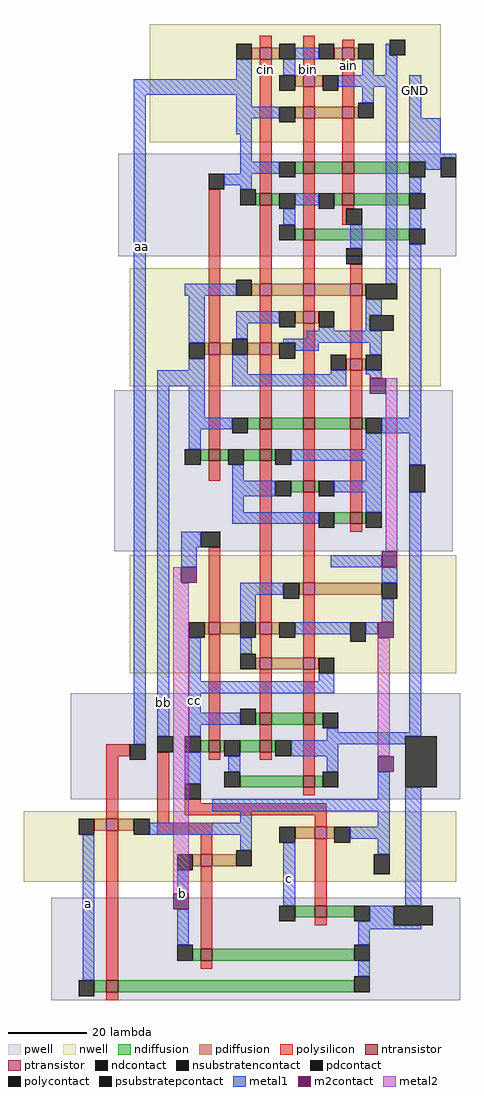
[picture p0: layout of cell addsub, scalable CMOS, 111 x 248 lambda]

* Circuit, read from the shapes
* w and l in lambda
.subckt addsub GND Vdd a aa ain b bb bin c cc cin
M1 GND aa a GND nfet w=3 l=3
M2 GND bb b GND nfet w=3 l=3
M3 n1 b cc GND nfet w=3 l=3
M4 n2 aa bb GND nfet w=3 l=3
M5 GND cin n1 GND nfet w=3 l=3
M6 n3 cin cc GND nfet w=3 l=3
M7 GND cin n2 GND nfet w=3 l=3
M8 n4 cin bb GND nfet w=3 l=3
M9 n5 cin aa GND nfet w=3 l=3
M10 GND bin n1 GND nfet w=3 l=3
M11 GND bin n3 GND nfet w=3 l=3
M12 GND bin n2 GND nfet w=3 l=3
M13 n6 bin n4 GND nfet w=3 l=3
M14 GND bin n5 GND nfet w=3 l=3
M15 n7 bin aa GND nfet w=3 l=3
M16 GND cc c GND nfet w=3 l=3
M17 GND ain n5 GND nfet w=3 l=3
M18 GND ain n7 GND nfet w=3 l=3
M19 GND ain n2 GND nfet w=3 l=3
M20 GND ain n6 GND nfet w=3 l=3
M21 Vdd aa a Vdd pfet w=3 l=3
M22 Vdd bb b Vdd pfet w=3 l=3
M23 n8 b cc Vdd pfet w=3 l=3
M24 n9 aa bb Vdd pfet w=3 l=3
M25 n10 cin n8 Vdd pfet w=3 l=3
M26 Vdd cin n8 Vdd pfet w=3 l=3
M27 Vdd cin n9 Vdd pfet w=3 l=3
M28 n11 cin bb Vdd pfet w=3 l=3
M29 n12 cin aa Vdd pfet w=3 l=3
M30 cc bin n10 Vdd pfet w=3 l=3
M31 Vdd bin n8 Vdd pfet w=3 l=3
M32 Vdd bin n9 Vdd pfet w=3 l=3
M33 n13 bin n11 Vdd pfet w=3 l=3
M34 n14 bin aa Vdd pfet w=3 l=3
M35 Vdd bin n12 Vdd pfet w=3 l=3
M36 Vdd cc c Vdd pfet w=3 l=3
M37 Vdd ain n14 Vdd pfet w=3 l=3
M38 Vdd ain n12 Vdd pfet w=3 l=3
M39 Vdd ain n9 Vdd pfet w=3 l=3
M40 Vdd ain n13 Vdd pfet w=3 l=3
.ends

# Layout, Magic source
magic
tech scmos
<< pwell >>
rect -50 -34 36 -8
rect -51 -109 35 -68
rect -62 -172 37 -145
rect -67 -223 37 -197
<< nwell >>
rect -42 -5 32 25
rect -47 -67 32 -37
rect -47 -140 36 -110
rect -74 -193 36 -175
<< polysilicon >>
rect -14 19 -11 22
rect -27 -56 -24 -17
rect -14 -18 -11 16
rect -3 12 0 22
rect 7 19 10 21
rect -3 4 0 9
rect 7 4 10 16
rect -3 -10 0 1
rect 7 -10 10 1
rect -14 -41 -11 -21
rect -3 -27 0 -13
rect 7 -18 10 -13
rect 7 -22 10 -21
rect 7 -26 8 -22
rect -3 -41 0 -30
rect 9 -41 12 -36
rect -14 -56 -11 -44
rect -3 -48 0 -44
rect -27 -83 -24 -59
rect -14 -75 -11 -59
rect -3 -75 0 -51
rect 9 -60 12 -44
rect 9 -75 12 -63
rect -14 -83 -11 -78
rect -27 -91 -24 -86
rect -27 -127 -24 -108
rect -14 -127 -11 -86
rect -3 -91 0 -78
rect -3 -117 0 -94
rect 9 -99 12 -78
rect 9 -104 12 -102
rect -53 -161 -47 -158
rect -53 -177 -50 -161
rect -27 -157 -24 -130
rect -14 -136 -11 -130
rect -3 -136 0 -120
rect -14 -150 -11 -139
rect -3 -150 0 -139
rect -14 -157 -11 -153
rect -53 -218 -50 -180
rect -40 -178 -37 -160
rect -27 -162 -24 -160
rect -14 -162 -11 -160
rect -3 -166 0 -153
rect -3 -171 0 -169
rect -33 -173 -29 -172
rect -33 -176 3 -173
rect -40 -181 -26 -178
rect 0 -179 3 -176
rect -29 -186 -26 -181
rect -29 -210 -26 -189
rect 0 -199 3 -182
rect 0 -204 3 -202
rect -29 -215 -26 -213
rect -53 -223 -50 -221
<< ndiffusion >>
rect -5 -13 -3 -10
rect 0 -13 7 -10
rect 10 -13 24 -10
rect -15 -21 -14 -18
rect -11 -21 -9 -18
rect 5 -21 7 -18
rect 10 -21 24 -18
rect -5 -30 -3 -27
rect 0 -30 24 -27
rect -17 -78 -14 -75
rect -11 -78 -3 -75
rect 0 -78 9 -75
rect 12 -78 13 -75
rect -29 -86 -27 -83
rect -24 -86 -22 -83
rect -18 -86 -14 -83
rect -11 -86 -10 -83
rect -6 -94 -3 -91
rect 0 -94 1 -91
rect 5 -102 9 -99
rect 12 -102 13 -99
rect -15 -153 -14 -150
rect -11 -153 -3 -150
rect 0 -153 2 -150
rect -29 -160 -27 -157
rect -24 -160 -23 -157
rect -19 -160 -14 -157
rect -11 -160 -10 -157
rect -19 -169 -3 -166
rect 0 -169 2 -166
rect -5 -202 0 -199
rect 3 -202 10 -199
rect -31 -213 -29 -210
rect -26 -213 10 -210
rect -56 -221 -53 -218
rect -50 -221 10 -218
<< pdiffusion >>
rect -16 16 -14 19
rect -11 16 -9 19
rect 5 16 7 19
rect 10 16 11 19
rect -5 9 -3 12
rect 0 9 2 12
rect -5 1 -3 4
rect 0 1 7 4
rect 10 1 11 4
rect -16 -44 -14 -41
rect -11 -44 -3 -41
rect 0 -44 9 -41
rect 12 -44 13 -41
rect -28 -59 -27 -56
rect -24 -59 -21 -56
rect -5 -51 -3 -48
rect 0 -51 1 -48
rect -17 -59 -14 -56
rect -11 -59 -9 -56
rect 8 -63 9 -60
rect 12 -63 13 -60
rect -4 -120 -3 -117
rect 0 -120 17 -117
rect -28 -130 -27 -127
rect -24 -130 -19 -127
rect -15 -130 -14 -127
rect -11 -130 -9 -127
rect -15 -139 -14 -136
rect -11 -139 -3 -136
rect 0 -139 1 -136
rect -56 -180 -53 -177
rect -50 -180 -46 -177
rect -5 -182 0 -179
rect 3 -182 5 -179
rect -31 -189 -29 -186
rect -26 -189 -20 -186
<< metal1 >>
rect -5 16 1 19
rect -20 11 -16 16
rect -8 12 -5 16
rect 12 12 15 16
rect 18 17 19 20
rect 18 12 21 17
rect -46 7 -16 11
rect 6 9 21 12
rect -46 -158 -43 7
rect -20 4 -16 7
rect 12 5 15 9
rect -20 1 -9 4
rect -20 -3 -16 1
rect -19 -10 -16 -3
rect -19 -13 -9 -10
rect -23 -16 -16 -13
rect -19 -17 -16 -16
rect -5 -21 1 -18
rect -8 -26 -5 -22
rect 9 -32 12 -26
rect -33 -44 -20 -41
rect 18 -41 21 9
rect -32 -56 -28 -44
rect 24 1 27 12
rect 24 -8 32 1
rect 24 -9 36 -8
rect 24 -10 32 -9
rect 28 -12 32 -10
rect 24 -18 27 -14
rect 24 -27 27 -22
rect -20 -51 -9 -48
rect -20 -55 -17 -51
rect 1 -53 5 -52
rect 13 -49 17 -45
rect 13 -53 14 -49
rect -2 -55 17 -53
rect -32 -63 -28 -60
rect -40 -67 -28 -63
rect -8 -56 17 -55
rect -21 -64 -17 -59
rect -5 -58 1 -56
rect 14 -59 17 -56
rect 4 -64 8 -63
rect 13 -64 17 -63
rect -21 -67 8 -64
rect 14 -65 17 -64
rect -40 -156 -37 -67
rect -32 -75 -28 -67
rect 24 -75 27 -31
rect -32 -78 -21 -75
rect -32 -83 -29 -78
rect 17 -79 27 -75
rect 13 -83 17 -79
rect -6 -86 17 -83
rect -21 -91 -18 -87
rect 13 -91 17 -86
rect -21 -95 -10 -91
rect 5 -94 17 -91
rect -21 -99 -18 -95
rect 13 -99 17 -94
rect -21 -102 1 -99
rect 24 -87 27 -79
rect -34 -108 -29 -104
rect -34 -113 -30 -108
rect 4 -113 17 -110
rect 17 -117 21 -113
rect -19 -120 -8 -117
rect -19 -127 -15 -120
rect 17 -127 20 -121
rect -5 -130 9 -127
rect -32 -142 -29 -131
rect -19 -135 -16 -131
rect 13 -130 16 -127
rect 1 -142 5 -140
rect -32 -145 5 -142
rect -32 -150 -29 -145
rect -32 -153 -19 -150
rect -32 -156 -29 -153
rect 3 -155 6 -154
rect 24 -155 27 -94
rect 3 -156 27 -155
rect 3 -157 23 -156
rect -33 -168 -29 -160
rect -6 -158 23 -157
rect -6 -161 6 -158
rect -22 -165 -19 -161
rect 3 -165 6 -161
rect 16 -172 19 -165
rect -26 -175 19 -172
rect -19 -178 -16 -175
rect -42 -181 -16 -178
rect 16 -179 19 -175
rect -59 -218 -56 -181
rect -19 -185 -16 -181
rect 9 -182 19 -179
rect -35 -196 -32 -190
rect -8 -199 -5 -183
rect 16 -186 19 -182
rect 23 -199 27 -169
rect -35 -209 -32 -200
rect 14 -203 20 -199
rect 11 -204 20 -203
rect 11 -205 27 -204
rect 11 -209 14 -205
rect 11 -217 14 -213
<< metal2 >>
rect 18 -109 21 -65
rect -36 -117 -34 -113
rect -36 -196 -32 -117
rect 16 -161 19 -131
<< ntransistor >>
rect -3 -13 0 -10
rect 7 -13 10 -10
rect -14 -21 -11 -18
rect 7 -21 10 -18
rect -3 -30 0 -27
rect -14 -78 -11 -75
rect -3 -78 0 -75
rect 9 -78 12 -75
rect -27 -86 -24 -83
rect -14 -86 -11 -83
rect -3 -94 0 -91
rect 9 -102 12 -99
rect -14 -153 -11 -150
rect -3 -153 0 -150
rect -27 -160 -24 -157
rect -14 -160 -11 -157
rect -3 -169 0 -166
rect 0 -202 3 -199
rect -29 -213 -26 -210
rect -53 -221 -50 -218
<< ptransistor >>
rect -14 16 -11 19
rect 7 16 10 19
rect -3 9 0 12
rect -3 1 0 4
rect 7 1 10 4
rect -14 -44 -11 -41
rect -3 -44 0 -41
rect 9 -44 12 -41
rect -27 -59 -24 -56
rect -3 -51 0 -48
rect -14 -59 -11 -56
rect 9 -63 12 -60
rect -3 -120 0 -117
rect -27 -130 -24 -127
rect -14 -130 -11 -127
rect -14 -139 -11 -136
rect -3 -139 0 -136
rect -53 -180 -50 -177
rect 0 -182 3 -179
rect -29 -189 -26 -186
<< polycontact >>
rect -27 -17 -23 -13
rect 8 -26 12 -22
rect 8 -36 12 -32
rect -29 -108 -24 -104
rect -47 -162 -43 -158
rect -40 -160 -36 -156
rect -33 -172 -29 -168
<< ndcontact >>
rect -19 -21 -15 -17
rect -9 -14 -5 -10
rect -9 -22 -5 -18
rect -9 -30 -5 -26
rect 24 -14 28 -10
rect 1 -22 5 -18
rect 24 -22 28 -18
rect 24 -31 28 -27
rect -21 -79 -17 -75
rect -33 -87 -29 -83
rect -22 -87 -18 -83
rect -10 -87 -6 -83
rect -10 -95 -6 -91
rect 1 -95 5 -91
rect 13 -79 17 -75
rect 1 -103 5 -99
rect 13 -103 17 -99
rect -33 -160 -29 -156
rect -19 -153 -15 -149
rect -23 -161 -19 -157
rect -10 -161 -6 -157
rect -23 -169 -19 -165
rect 2 -154 6 -150
rect 2 -169 6 -165
rect -35 -213 -31 -209
rect -9 -203 -5 -199
rect 10 -203 14 -199
rect 10 -213 14 -209
rect -60 -222 -56 -218
rect 10 -221 14 -217
<< pdcontact >>
rect -20 16 -16 20
rect -9 16 -5 20
rect 1 16 5 20
rect 11 16 15 20
rect -9 8 -5 12
rect 2 8 6 12
rect -9 0 -5 4
rect 11 1 15 5
rect -20 -44 -16 -40
rect -32 -60 -28 -56
rect -21 -59 -17 -55
rect -9 -52 -5 -48
rect -9 -60 -5 -56
rect 1 -52 5 -48
rect 4 -63 8 -59
rect 13 -45 21 -41
rect 13 -63 17 -59
rect -8 -121 -4 -117
rect -32 -131 -28 -127
rect -19 -131 -15 -127
rect -19 -139 -15 -135
rect -9 -131 -5 -127
rect 17 -121 21 -117
rect 1 -140 5 -136
rect -60 -181 -56 -177
rect -46 -181 -42 -177
rect -9 -183 -5 -179
rect -35 -190 -31 -186
rect -20 -189 -16 -185
rect 5 -183 9 -179
<< m2contact >>
rect 14 -69 18 -65
rect 17 -113 21 -109
rect -34 -117 -30 -113
rect 16 -131 20 -127
rect 16 -165 20 -161
rect -36 -200 -32 -196
<< psubstratepcontact >>
rect 32 -14 36 -9
rect 24 -94 28 -87
rect 23 -169 31 -156
rect 20 -204 30 -199
<< nsubstratencontact >>
rect 19 17 23 21
rect 14 -53 20 -49
rect 9 -132 13 -127
rect 15 -191 19 -186
<< labels >>
rlabel metal1 -59 -200 -56 -197 1 a
rlabel metal1 -35 -200 -32 -192 1 b
rlabel metal1 -8 -194 -5 -190 1 c
rlabel polysilicon 7 13 10 16 1 ain
rlabel polysilicon -3 12 0 15 1 bin
rlabel polysilicon -14 12 -11 15 1 cin
rlabel metal1 -45 -33 -43 -30 1 aa
rlabel metal1 24 5 27 11 1 GND
rlabel metal1 18 5 21 10 1 Vdd
rlabel metal1 -40 -150 -37 -145 1 bb
rlabel metal1 -31 -149 -30 -145 1 cc
<< end >>
